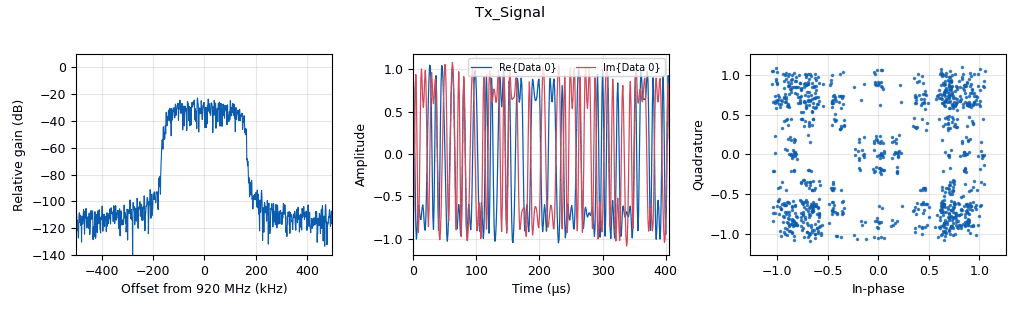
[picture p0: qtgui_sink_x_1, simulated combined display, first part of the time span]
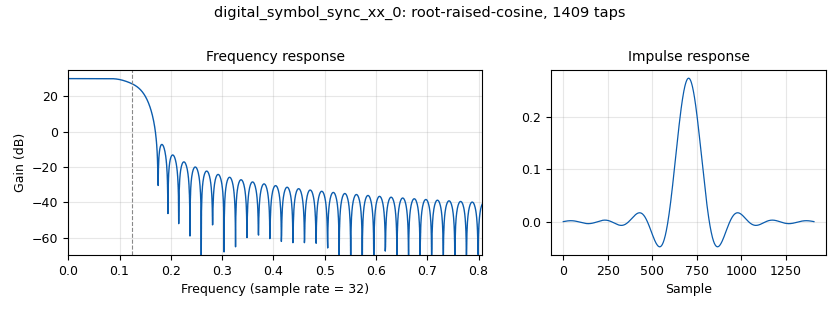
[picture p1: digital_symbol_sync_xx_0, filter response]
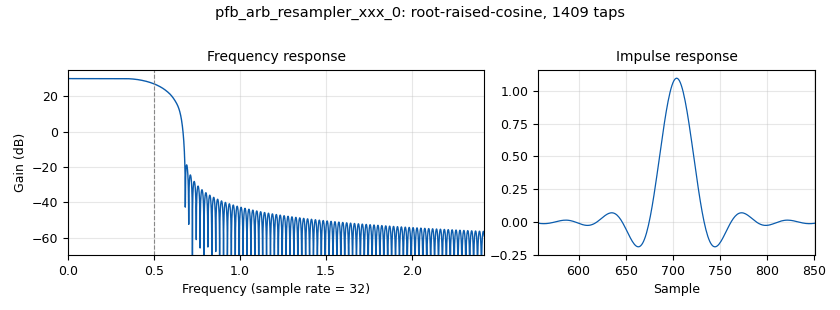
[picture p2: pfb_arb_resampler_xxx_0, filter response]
options:
  parameters:
    author: Tianzheng_Miao
    generate_options: qt_gui
    id: Full_server_process
    output_language: python
    title: Full_server_process
  states: {}

blocks:
- name: arity
  id: variable
  parameters:
    value: '4'
  states: {}
- name: d
  id: variable
  parameters:
    value: 1/(2**(1/2))
  states: {}
- name: delay
  id: variable_qtgui_range
  parameters:
    gui_hint: 'controls@0: 0,1,1,1'
    label: Delay
    rangeType: int
    start: '0'
    step: '1'
    stop: '200'
    value: '32'
  states: {}
- name: eq_gain
  id: variable_qtgui_range
  parameters:
    gui_hint: 'controls@1: 1,0,1,1'
    label: 'Equalizer: rate'
    start: '0.0'
    step: '0.0001'
    stop: '0.001'
    value: '0.0001'
  states: {}
- name: excess_bw
  id: variable
  parameters:
    value: '0.35'
  states: {}
- name: filt_delay
  id: variable
  parameters:
    value: int(1+(taps_per_filt-1)//2)
  states: {}
- name: freq
  id: variable
  parameters:
    value: 920e6
  states: {}
- name: freq_offset
  id: variable_qtgui_range
  parameters:
    gui_hint: 'controls@0: 1,1,1,1'
    label: Frequency Offset
    start: '-0.1'
    step: '0.001'
    stop: '0.1'
    value: '0'
  states: {}
- name: gain_rx
  id: variable_qtgui_range
  parameters:
    gui_hint: 'controls@1: 0,0,1,1'
    label: gain_rx
    start: '0'
    step: '1'
    stop: '74'
    value: '40'
  states: {}
- name: gain_tx
  id: variable_qtgui_range
  parameters:
    gui_hint: 'controls@0: 0,0,1,1'
    label: gain_tx
    start: '0'
    step: '1'
    stop: '74'
    value: '40'
  states: {}
- name: nfilts
  id: variable
  parameters:
    value: '32'
  states: {}
- name: noise_volt
  id: variable_qtgui_range
  parameters:
    gui_hint: 'controls@0: 1,0,1,1'
    label: Noise Voltage
    start: '0'
    step: '0.01'
    stop: '2'
    value: '0'
  states: {}
- name: phase_bw
  id: variable_qtgui_range
  parameters:
    gui_hint: 'controls@1: 1,1,1,1'
    label: 'Phase: Bandwidth'
    start: '0.0'
    step: '0.01'
    stop: '0.1'
    value: 6.28/200
  states: {}
- name: qpsk_mg
  id: variable_constellation_rect
  parameters:
    const_points: '[d+d*1j, -d+d*1j,-d-d*1j, d-d*1j]'
    imag_sect: '2'
    real_sect: '2'
    rot_sym: '4'
    sym_map: '[0, 1, 3, 2]'
    w_imag_sect: '1'
    w_real_sect: '1'
  states: {}
- name: rrc_taps
  id: variable
  parameters:
    value: firdes.root_raised_cosine(nfilts, nfilts, 1.0/float(sps), excess_bw, 11*sps*nfilts)
  states: {}
- name: rrc_taps_tx
  id: variable
  parameters:
    value: firdes.root_raised_cosine(nfilts, nfilts, 1.0, excess_bw, 11*sps*nfilts)
  states: {}
- name: samp_rate
  id: variable
  parameters:
    value: '1000000'
  states: {}
- name: sps
  id: variable
  parameters:
    value: '4'
  states: {}
- name: taps
  id: variable
  parameters:
    value: '[0.825,0,0,0,0.526]'
  states: {}
- name: taps_1
  id: variable
  parameters:
    value: '[1,0,0,0.5]'
  states: {}
- name: taps_per_filt
  id: variable
  parameters:
    value: int((11*sps*nfilts)/nfilts)
  states: {}
- name: timing_loop_bw
  id: variable_qtgui_range
  parameters:
    gui_hint: 'controls@1: 0,1,1,1'
    label: timing_loop_bw
    start: '0.0'
    step: '0.001'
    stop: '0.1'
    value: 6.28/200
  states: {}
- name: variable_adaptive_algorithm_0
  id: variable_adaptive_algorithm
  parameters:
    cons: qpsk_mg
    modulus: '1'
    step_size: eq_gain
    type: cma
  states: {}
- name: analog_random_source_x_0
  id: analog_random_source_x
  parameters:
    max: '256'
    min: '0'
    num_samps: '10000000'
    repeat: 'True'
    type: byte
  states: {}
- name: blocks_char_to_float_0_0
  id: blocks_char_to_float
  parameters:
    scale: '1'
  states: {state: disabled}
- name: blocks_char_to_float_0_0_0
  id: blocks_char_to_float
  parameters:
    scale: '1'
  states: {state: disabled}
- name: blocks_char_to_float_0_0_1
  id: blocks_char_to_float
  parameters:
    scale: '1'
  states: {}
- name: blocks_complex_to_mag_squared_0
  id: blocks_complex_to_mag_squared
  parameters: {}
  states: {}
- name: blocks_delay_0
  id: blocks_delay
  parameters:
    delay: delay
    type: byte
  states: {}
- name: blocks_moving_average_xx_0
  id: blocks_moving_average_xx
  parameters:
    length: '10000'
    max_iter: '4000'
    scale: '0.0001'
    type: float
  states: {}
- name: blocks_moving_average_xx_1
  id: blocks_moving_average_xx
  parameters:
    length: '10000'
    max_iter: '4000'
    scale: '0.0001'
    type: float
  states: {}
- name: blocks_packed_to_unpacked_xx_0
  id: blocks_packed_to_unpacked_xx
  parameters:
    bits_per_chunk: '2'
    endianness: gr.GR_MSB_FIRST
    type: byte
  states: {}
- name: blocks_unpack_k_bits_bb_0
  id: blocks_unpack_k_bits_bb
  parameters:
    k: '2'
  states: {}
- name: blocks_unpack_k_bits_bb_0_0
  id: blocks_unpack_k_bits_bb
  parameters:
    k: '8'
  states: {}
- name: blocks_xor_xx_0
  id: blocks_xor_xx
  parameters:
    type: byte
  states: {}
- name: controls
  id: qtgui_tab_widget
  parameters:
    gui_hint: 0,0,1,2
    label0: TX
    label1: RX
    num_tabs: '2'
  states: {}
- name: digital_chunks_to_symbols_xx_0
  id: digital_chunks_to_symbols_xx
  parameters:
    dimension: '1'
    in_type: byte
    out_type: complex
    symbol_table: qpsk_mg.points()
  states: {}
- name: digital_constellation_decoder_cb_0
  id: digital_constellation_decoder_cb
  parameters:
    constellation: qpsk_mg.base()
  states: {}
- name: digital_costas_loop_cc_0
  id: digital_costas_loop_cc
  parameters:
    order: arity
    w: phase_bw
  states: {}
- name: digital_diff_decoder_bb_0_0
  id: digital_diff_decoder_bb
  parameters:
    coding: digital.DIFF_DIFFERENTIAL
    modulus: '4'
  states: {}
- name: digital_diff_encoder_bb_0
  id: digital_diff_encoder_bb
  parameters:
    coding: digital.DIFF_DIFFERENTIAL
    modulus: '4'
  states: {}
- name: digital_linear_equalizer_0
  id: digital_linear_equalizer
  parameters:
    alg: variable_adaptive_algorithm_0
    num_taps: '15'
    sps: '2'
  states: {}
- name: digital_pfb_clock_sync_xxx_0
  id: digital_pfb_clock_sync_xxx
  parameters:
    filter_size: nfilts
    init_phase: nfilts/2
    loop_bw: timing_loop_bw
    max_dev: '1.5'
    osps: '2'
    sps: sps
    taps: rrc_taps
    type: ccf
  states: {state: disabled}
- name: digital_symbol_sync_xx_0
  id: digital_symbol_sync_xx
  parameters:
    damping: '1.0'
    loop_bw: timing_loop_bw
    max_dev: '1.5'
    nfilters: nfilts
    osps: '2'
    pfb_mf_taps: rrc_taps
    resamp_type: digital.IR_PFB_MF
    sps: sps
    ted_gain: '1.0'
    ted_type: digital.TED_SIGNAL_TIMES_SLOPE_ML
    type: cc
  states: {}
- name: pfb_arb_resampler_xxx_0
  id: pfb_arb_resampler_xxx
  parameters:
    atten: '100'
    nfilts: nfilts
    rrate: sps
    taps: rrc_taps_tx
    type: ccf
  states: {}
- name: qtgui_const_sink_x_0
  id: qtgui_const_sink_x
  parameters:
    grid: 'True'
    gui_hint: 2,0,1,1
    name: '"RX_Constellation"'
    size: '1024'
    type: complex
  states: {}
- name: qtgui_number_sink_0
  id: qtgui_number_sink
  parameters:
    graph_type: qtgui.NUM_GRAPH_HORIZ
    type: float
  states: {}
- name: qtgui_number_sink_1
  id: qtgui_number_sink
  parameters:
    graph_type: qtgui.NUM_GRAPH_HORIZ
    gui_hint: 2,1,1,1
    type: float
  states: {}
- name: qtgui_sink_x_1
  id: qtgui_sink_x
  parameters:
    bw: samp_rate
    fc: freq
    fftsize: '1024'
    gui_hint: 1,0,1,1
    name: '"Tx_Signal"'
    showports: 'True'
    type: complex
  states: {}
- name: qtgui_sink_x_1_0
  id: qtgui_sink_x
  parameters:
    bw: samp_rate
    fc: freq
    fftsize: '1024'
    gui_hint: 1,1,1,1
    name: '"Rx_Signal"'
    showports: 'True'
    type: complex
  states: {}
- name: qtgui_time_sink_x_0
  id: qtgui_time_sink_x
  parameters:
    grid: 'True'
    gui_hint: 2,1,1,1
    label1: RX
    label2: TX
    name: '"TX_vs_RX_Bits"'
    nconnections: '2'
    size: '512'
    srate: samp_rate
    type: float
    ymax: '1.5'
    ymin: '-0.5'
  states: {state: disabled}
- name: zeromq_pull_source_0
  id: zeromq_pull_source
  parameters:
    address: tcp://*:6002
    bind: 'True'
    timeout: '100'
    type: complex
  states: {}
- name: zeromq_push_sink_0
  id: zeromq_push_sink
  parameters:
    address: tcp://*:6001
    timeout: '100'
    type: complex
  states: {}

connections:
- [analog_random_source_x_0, '0', blocks_packed_to_unpacked_xx_0, '0']
- [analog_random_source_x_0, '0', blocks_unpack_k_bits_bb_0_0, '0']
- [blocks_char_to_float_0_0, '0', qtgui_time_sink_x_0, '0']
- [blocks_char_to_float_0_0_0, '0', qtgui_time_sink_x_0, '1']
- [blocks_char_to_float_0_0_1, '0', blocks_moving_average_xx_1, '0']
- [blocks_complex_to_mag_squared_0, '0', blocks_moving_average_xx_0, '0']
- [blocks_delay_0, '0', blocks_char_to_float_0_0_0, '0']
- [blocks_delay_0, '0', blocks_xor_xx_0, '0']
- [blocks_moving_average_xx_0, '0', qtgui_number_sink_0, '0']
- [blocks_moving_average_xx_1, '0', qtgui_number_sink_1, '0']
- [blocks_packed_to_unpacked_xx_0, '0', digital_diff_encoder_bb_0, '0']
- [blocks_unpack_k_bits_bb_0, '0', blocks_char_to_float_0_0, '0']
- [blocks_unpack_k_bits_bb_0, '0', blocks_xor_xx_0, '1']
- [blocks_unpack_k_bits_bb_0_0, '0', blocks_delay_0, '0']
- [blocks_xor_xx_0, '0', blocks_char_to_float_0_0_1, '0']
- [digital_chunks_to_symbols_xx_0, '0', pfb_arb_resampler_xxx_0, '0']
- [digital_constellation_decoder_cb_0, '0', digital_diff_decoder_bb_0_0, '0']
- [digital_costas_loop_cc_0, '0', digital_constellation_decoder_cb_0, '0']
- [digital_costas_loop_cc_0, '0', qtgui_const_sink_x_0, '0']
- [digital_diff_decoder_bb_0_0, '0', blocks_unpack_k_bits_bb_0, '0']
- [digital_diff_encoder_bb_0, '0', digital_chunks_to_symbols_xx_0, '0']
- [digital_linear_equalizer_0, '0', digital_costas_loop_cc_0, '0']
- [digital_pfb_clock_sync_xxx_0, '0', digital_linear_equalizer_0, '0']
- [digital_symbol_sync_xx_0, '0', digital_linear_equalizer_0, '0']
- [pfb_arb_resampler_xxx_0, '0', qtgui_sink_x_1, '0']
- [pfb_arb_resampler_xxx_0, '0', zeromq_push_sink_0, '0']
- [zeromq_pull_source_0, '0', blocks_complex_to_mag_squared_0, '0']
- [zeromq_pull_source_0, '0', digital_pfb_clock_sync_xxx_0, '0']
- [zeromq_pull_source_0, '0', digital_symbol_sync_xx_0, '0']
- [zeromq_pull_source_0, '0', qtgui_sink_x_1_0, '0']

metadata:
  file_format: 1
  grc_version: 3.10.9.2
